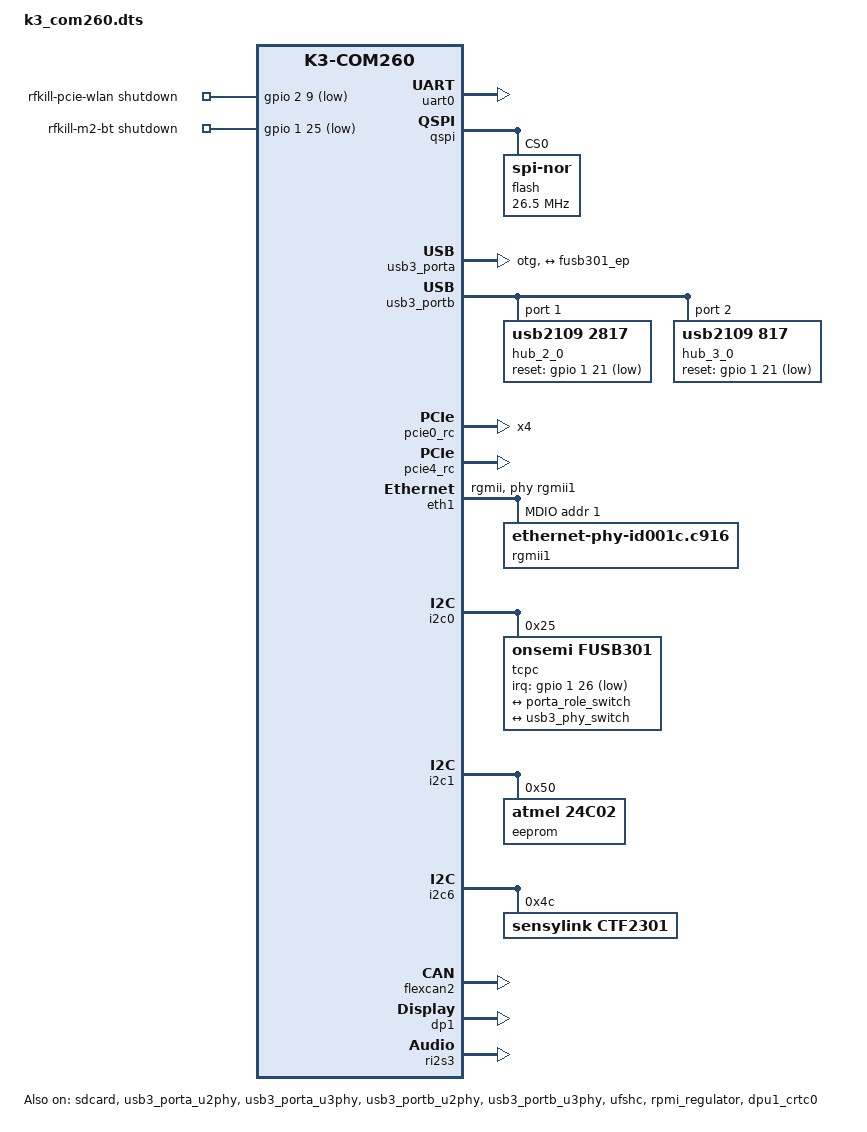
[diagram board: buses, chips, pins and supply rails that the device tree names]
// SPDX-License-Identifier: (GPL-2.0 OR MIT)
/* Copyright (c) 2025 Spacemit, Inc */

#include "k3.dtsi"
#include "k3-rdomain.dtsi"
#include "k3-pinctrl.dtsi"
#include "k3_opp_table.dtsi"
#include "k3-dp1.dtsi"

/ {
	compatible = "spacemit,k3-com260";
	cpus: cpus {
		#address-cells = <1>;
		#size-cells = <0>;
		timebase-frequency = <24000000>;
	};
/*
	p12v: p12v {
		compatible = "regulator-fixed";
		regulator-name = "p12v";
		regulator-always-on;
		regulator-boot-on;
		regulator-min-microvolt = <12000000>;
		regulator-max-microvolt = <12000000>;
		status = "disabled";
	};

	p5v: p5v {
		compatible = "regulator-fixed";
		regulator-name = "p5v";
		regulator-always-on;
		regulator-boot-on;
		regulator-min-microvolt = <5000000>;
		regulator-max-microvolt = <5000000>;
		vin-supply = <&p12v>;
		status = "disabled";
	};

	p1v8: p1v8 {
		compatible = "regulator-fixed";
		regulator-name = "p1v8";
		regulator-always-on;
		regulator-boot-on;
		regulator-min-microvolt = <1800000>;
		regulator-max-microvolt = <1800000>;
		vin-supply = <&p5v>;
		status = "disabled";
	};

	p3v3: p3v3 {
		compatible = "regulator-fixed";
		regulator-name = "p3v3";
		regulator-always-on;
		regulator-boot-on;
		regulator-min-microvolt = <3300000>;
		regulator-max-microvolt = <3300000>;
		vin-supply = <&p5v>;
		status = "disabled";
	};
*/
	chosen {
		bootargs = "earlycon=sbi console=ttyS0,115200 clk_ignore_unused nohlt loglevel=8 random.trust_bootloader=1";
		rng-seed = <0x25d69b2 0xff555073 0xd23238ea 0x57aa5455 0x792478ed 0xa744f28e 0x6ba4fc54 0xa2bf20fc>;
		stdout-path = "serial0:115200";
	};

	rfkill-pcie-wlan {
		compatible = "rfkill-gpio";
		label = "rfkill-pcie-wlan";
		pinctrl-names = "default";
		pinctrl-0 = <&m2_wdis1_cfg>;
		radio-type = "wlan";
		shutdown-gpios = <&gpio 2 9 GPIO_ACTIVE_LOW>;
	};

	rfkill-m2-bt {
		compatible = "rfkill-gpio";
		label = "rfkill-m2-bt";
		pinctrl-names = "default";
		pinctrl-0 = <&m2_wdis2_cfg>;
		radio-type = "bluetooth";
		shutdown-gpios = <&gpio 1 25 GPIO_ACTIVE_LOW>;
	};
};

&resmem {
	/* global autoconfigured region for contiguous allocations */
	cmamem: linux,cma {
		compatible = "shared-dma-pool";
		reusable;
		size = <0 0x20000000>;
		alloc-ranges = <1 0x40000000 0 0x20000000>;
		linux,cma-default;
	};
};

&pinctrl {
	can2-1-cfg {
		can2-0-pins {
			power-source = <3300>;
		};
	};

	gmac1-cfg {
		/delete-node/ gmac1-2-pins;
		/delete-node/ gmac1-4-pins;
		/delete-node/ gmac1-5-pins;

		gmac1-0-pins {
			power-source = <1800>;
		};

		gmac1-1-pins {
			power-source = <1800>;
		};

		gmac1-3-pins {
			power-source = <1800>;
		};

		gmac1-6-pins {
			pinmux = <K3_PADCONF(37, 0)>;

			bias-disable;
			drive-strength = <25>;
			power-source = <1800>;
		};
	};

	i2c0-0-cfg {
		i2c0-0-pins {
			power-source = <3300>;
		};
	};

	i2c1-1-cfg {
		i2c1-0-pins {
			power-source = <1800>;
		};
	};

	i2c6-1-cfg {
		i2c6-0-pins {
			power-source = <3300>;
		};
	};

	fusb301_cfg: fusb301-cfg {
		fusb301-0-pins {
			pinmux = <K3_PADCONF(58, 0)>;

			bias-pull-up;
			drive-strength = <25>;
			power-source = <1800>;
		};
	};

	dp1_3_cfg: dp1-3-cfg {
		dp1-0-pins {
			pinmux = <K3_PADCONF(72, 4)>;	/* dp1 hpd */

			bias-disable;			/* normal bias disable */
			drive-strength = <25>;		/* DS8 */
			power-source = <3300>;
		};
	};

	pcie0_1_cfg: pcie0-1-cfg {
		pcie0-0-pins {
			pinmux = <K3_PADCONF(79, 5)>,	/* pcie0 perst */
				<K3_PADCONF(81, 5)>;	/* pcie0 clkreq */

			bias-pull-up;			/* normal bias disable */
			drive-strength = <38>;		/* DS8 */
			power-source = <3300>;
		};
	};

	pcie4_0_cfg: pcie4-0-cfg {
		pcie4-0-pins {
			pinmux = <K3_PADCONF(76, 5)>,	/* pcie4 perst */
				<K3_PADCONF(80, 5)>,	/* pcie4 wake */
				<K3_PADCONF(78, 5)>;	/* pcie4 clkreq */

			bias-pull-up;			/* normal bias disable */
			drive-strength = <38>;		/* DS8 */
			power-source = <3300>;
		};
	};

	m2_wdis1_cfg: m2-wdis1-cfg {
		m2-wdis1-pins {
			pinmux = <K3_PADCONF(73, 0)>;

			bias-pull-up;
			drive-strength = <38>;
			power-source = <3300>;
		};
	};

	m2_wdis2_cfg: m2-wdis2-cfg {
		m2-wdis2-pins {
			pinmux = <K3_PADCONF(57, 0)>;

			bias-pull-up;
			drive-strength = <38>;
			power-source = <3300>;
		};
	};

	qspi-cfg {
		/delete-node/ qspi-1-pins;
		qspi-0-pins {
			power-source = <1800>;
		};
	};
};

&uart0 {
	pinctrl-names = "default";
	pinctrl-0 = <&uart0_0_cfg>;
	status = "okay";
};

&qspi {
	pinctrl-names = "default";
	pinctrl-0 = <&qspi_cfg>;
	spacemit,qspi-tx-dma = <0>;
	spacemit,qspi-rx-dma = <0>;
	status = "okay";

	flash@0 {
		compatible = "jedec,spi-nor";
		reg = <0>;
		spi-max-frequency = <26500000>;
		m25p,fast-read;
		broken-flash-reset;
		status = "okay";
	};
};

&sdcard {
	pinctrl-names = "default";
	pinctrl-0 = <&mmc1_cfg>;
	bus-width = <4>;
	wp-inverted;
	cd-gpios = <&gpio 0 4 GPIO_ACTIVE_HIGH>;
	vmmc-supply = <&p3v3>;
	vqmmc-supply = <&aldo1>;
	no-mmc;
	no-sdio;
	clock-frequency = <204800000>;
	spacemit,tx_delaycode = <0x1f>;
	status = "okay";
};

&usb2_host_u2phy {
	status = "disabled";
};

&usb2_host {
	status = "disabled";
};

&usb3_porta_u2phy {
	status = "okay";
};

&usb3_porta_u3phy {
	orientation-switch;
	status = "okay";

	port {
		usb3_phy_switch: endpoint {
			remote-endpoint = <&fusb301_sw_ep>;
		};
	};
};

&usb3_porta {
	dr_mode = "otg";
	usb-role-switch;
	role-switch-default-mode = "peripheral";
	monitor-vbus;
	status = "okay";

	ports {
		#address-cells = <1>;
		#size-cells = <0>;
		port@0 {
			reg = <0x0>;
			porta_role_switch: endpoint {
				remote-endpoint = <&fusb301_ep>;
			};
		};
	};
};

&usb3_portb_u2phy {
	status = "okay";
};

&usb3_portb_u3phy {
	status = "okay";
};

&usb3_portb {
	status = "okay";
	#address-cells = <1>;
	#size-cells = <0>;

	/* VL817 USB2.0 hub (4 ports) */
	hub_2_0: hub@1 {
		compatible = "usb2109,2817";
		reg = <1>;
		peer-hub = <&hub_3_0>;
		/* GPIO53(MIPI_CSI3_PWDN) for HUB 3V3 RST */
		reset-gpio = <&gpio 1 21 GPIO_ACTIVE_LOW>;
	};

	/* VL817 USB3.0 hub (4 ports) */
	hub_3_0: hub@2 {
		compatible = "usb2109,817";
		reg = <2>;
		peer-hub = <&hub_2_0>;
		/* GPIO53(MIPI_CSI3_PWDN) for HUB 3V3 RST */
		reset-gpio = <&gpio 1 21 GPIO_ACTIVE_LOW>;
	};
};

&ufshc {
	status = "okay";
};

&pcie0_rc {
	pinctrl-names = "default";
	pinctrl-0 = <&pcie0_1_cfg>;

	max-link-speed = <1>;
	num-lanes = <4>;
	status = "okay";
};

&pcie4_rc {
	pinctrl-names = "default";
	pinctrl-0 = <&pcie4_0_cfg>;

	max-link-speed = <1>;
	status = "okay";
};

&eth1 {
	pinctrl-names = "default";
	pinctrl-0 = <&gmac1_cfg>;

	max-speed = <1000>;
	tx-fifo-depth = <8192>;
	rx-fifo-depth = <8192>;
	snps,tso;
	snps,force_sf_dma_mode;
	phy-mode = "rgmii";
	phy-handle = <&rgmii1>;
	snps,reset-gpios = <&gpio 1 5 GPIO_ACTIVE_LOW>;
	snps,reset-delays-us = <2 10000 10000>;

	spacemit,wake-irq-enable;

	spacemit,clk-tuning-enable;
	spacemit,clk-tuning-by-delayline;
	spacemit,tx-phase = <47>;
	spacemit,rx-phase = <53>;

	status = "okay";

	mdio {
		#address-cells = <1>;
		#size-cells = <0>;
		compatible = "snps,dwmac-mdio";

		rgmii1: phy@1 {
			compatible = "ethernet-phy-id001c.c916";
			reg = <0x1>;
			device_type = "ethernet-phy";
		};
	};
};

&rpmi_regulator {
	status = "okay";
	pinctrl-names = "default";
	pinctrl-0 = <&i2c8_cfg_rcpu>;

	pvin: pvin {
		regulator-min-microvolt = <5000000>;
		regulator-max-microvolt = <5000000>;
		regulator-always-on;
		regulator-boot-on;
	};

	edcdc2: edcdc2 {
		regulator-min-microvolt = <800000>;
		regulator-max-microvolt = <800000>;
		regulator-always-on;
		regulator-boot-on;
	};

	edcdc1: edcdc1 {
		regulator-min-microvolt = <534000>;
		regulator-max-microvolt = <1000000>;
		regulator-always-on;
		regulator-boot-on;
	};

	p3v3: p3v3 {
		regulator-min-microvolt = <3300000>;
		regulator-max-microvolt = <3300000>;
		regulator-always-on;
		regulator-boot-on;
	};

	p1v8: p1v8 {
		regulator-min-microvolt = <1800000>;
		regulator-max-microvolt = <1800000>;
		regulator-always-on;
		regulator-boot-on;
	};

	dcdc1: dcdc1 {
		regulator-min-microvolt = <1050000>;
		regulator-max-microvolt = <1050000>;
		regulator-always-on;
		regulator-boot-on;
	};

	dcdc3: dcdc3 {
		regulator-min-microvolt = <800000>;
		regulator-max-microvolt = <800000>;
		regulator-always-on;
		regulator-boot-on;
	};

	dcdc4: dcdc4 {
		regulator-min-microvolt = <2100000>;
		regulator-max-microvolt = <2100000>;
		regulator-always-on;
		regulator-boot-on;
	};

	dcdc5: dcdc5 {
		regulator-min-microvolt = <1800000>;
		regulator-max-microvolt = <1800000>;
		regulator-always-on;
		regulator-boot-on;
	};

	dcdc6: dcdc6 {
		regulator-min-microvolt = <500000>;
		regulator-max-microvolt = <600000>;
		regulator-always-on;
		regulator-boot-on;
	};

	aldo1: aldo1 {
		regulator-min-microvolt = <1800000>;
		regulator-max-microvolt = <3300000>;
		regulator-always-on;
		regulator-boot-on;
	};

	aldo2: aldo2 {
		regulator-min-microvolt = <1800000>;
		regulator-max-microvolt = <1800000>;
		regulator-always-on;
		regulator-boot-on;
	};

	aldo3: aldo3 {
		regulator-min-microvolt = <500000>;
		regulator-max-microvolt = <3400000>;
	};

	aldo4: aldo4 {
		regulator-min-microvolt = <3300000>;
		regulator-max-microvolt = <3300000>;
		regulator-always-on;
		regulator-boot-on;
	};

	dldo1: dldo1 {
		regulator-min-microvolt = <1200000>;
		regulator-max-microvolt = <1200000>;
		regulator-always-on;
		regulator-boot-on;
	};

	dldo2: dldo2 {
		regulator-min-microvolt = <900000>;
		regulator-max-microvolt = <900000>;
		regulator-always-on;
		regulator-boot-on;
	};

	dldo3: dldo3 {
		regulator-min-microvolt = <800000>;
		regulator-max-microvolt = <800000>;
		regulator-always-on;
		regulator-boot-on;
	};

	dldo4: dldo4 {
		regulator-min-microvolt = <1800000>;
		regulator-max-microvolt = <1800000>;
		regulator-always-on;
		regulator-boot-on;
	};

	dldo5: dldo5 {
		regulator-min-microvolt = <1800000>;
		regulator-max-microvolt = <1800000>;
		regulator-always-on;
		regulator-boot-on;
	};

	dldo6: dldo6 {
		regulator-min-microvolt = <1800000>;
		regulator-max-microvolt = <1800000>;
		regulator-always-on;
		regulator-boot-on;
	};

	dldo7: dldo7 {
		regulator-min-microvolt = <1800000>;
		regulator-max-microvolt = <1800000>;
		regulator-always-on;
		regulator-boot-on;
	};

	pwr_x100: pwr_x100 {
		regulator-min-microvolt = <3300000>;
		regulator-max-microvolt = <3300000>;
		regulator-always-on;
		regulator-boot-on;
	};

	pwr_a100: pwr_a100 {
		regulator-min-microvolt = <3300000>;
		regulator-max-microvolt = <3300000>;
		regulator-always-on;
		regulator-boot-on;
	};

	pwr_ext: pwr_ext {
		regulator-min-microvolt = <3300000>;
		regulator-max-microvolt = <3300000>;
		regulator-always-on;
		regulator-boot-on;
	};
};

&thermal_zones {
	thermal_0 {
		polling-delay = <1000>;
		polling-delay-passive = <250>;
		thermal-sensors = <&thermal 0>;

		trips {
			thermal0_trip0: thermal0-trip0 {
				temperature = <40000>;
				hysteresis = <5000>;
				type = "passive";
			};
		};
	};

	thermal_1 {
		polling-delay = <1000>;
		polling-delay-passive = <250>;
		thermal-sensors = <&thermal 1>;

		trips {
			thermal1_trip0: thermal1-trip0 {
				temperature = <40000>;
				hysteresis = <5000>;
				type = "passive";
			};
		};
	};

	thermal_2 {
		polling-delay = <1000>;
		polling-delay-passive = <250>;
		thermal-sensors = <&thermal 2>;

		trips {
			thermal2_trip0: thermal2-trip0 {
				temperature = <40000>;
				hysteresis = <5000>;
				type = "passive";
			};
		};
	};

	thermal_3 {
		polling-delay = <1000>;
		polling-delay-passive = <250>;
		thermal-sensors = <&thermal 3>;

		trips {
			thermal3_trip0: thermal3-trip0 {
				temperature = <40000>;
				hysteresis = <5000>;
				type = "passive";
			};
		};
	};

	thermal_4 {
		/* top sensor */
		polling-delay = <1000>;
		polling-delay-passive = <250>;
		thermal-sensors = <&thermal 4>;

		trips {
			thermal4_top_trip0: thermal4-trip0 {
				temperature = <35000>;
				hysteresis = <5000>;
				type = "active";
			};

			thermal4_top_trip1: thermal4-trip1 {
				temperature = <40000>;
				hysteresis = <5000>;
				type = "passive";
			};

			thermal4_top_trip2: thermal4-trip2 {
				temperature = <50000>;
				hysteresis = <5000>;
				type = "passive";
			};

			thermal4_top_trip3: thermal4-trip3 {
				temperature = <60000>;
				hysteresis = <5000>;
				type = "passive";
			};

			thermal4_top_trip4: thermal4-trip04 {
				temperature = <70000>;
				hysteresis = <5000>;
				type = "passive";
			};
		};

		cooling-maps {
			map0 {
				trip = <&thermal4_top_trip0>;
				cooling-device = <&ctf2301 0 50>;
			};

			map1 {
				trip = <&thermal4_top_trip1>;
				cooling-device = <&ctf2301 64 75>;
			};

			map2 {
				trip = <&thermal4_top_trip2>;
				cooling-device = <&ctf2301 102 128>;
			};

			map3 {
				trip = <&thermal4_top_trip3>;
				cooling-device = <&ctf2301 179 204>;
			};

			map4 {
				trip = <&thermal4_top_trip4>;
				cooling-device = <&ctf2301 255 255>;
			};
		};
	};

	thermal_5 {
		polling-delay = <1000>;
		polling-delay-passive = <250>;
		thermal-sensors = <&thermal 5>;

		trips {
			thermal5_trip0: thermal5-trip0 {
				temperature = <40000>;
				hysteresis = <5000>;
				type = "passive";
			};
		};
	};

	thermal_6 {
		polling-delay = <1000>;
		polling-delay-passive = <250>;
		thermal-sensors = <&thermal 6>;

		trips {
			thermal6_trip0: thermal6-trip0 {
				temperature = <40000>;
				hysteresis = <5000>;
				type = "passive";
			};
		};
	};

	thermal_7 {
		polling-delay = <1000>;
		polling-delay-passive = <250>;
		thermal-sensors = <&thermal 7>;

		trips {
			thermal7_trip0: thermal7-trip0 {
				temperature = <40000>;
				hysteresis = <5000>;
				type = "passive";
			};
		};
	};
};

&i2c0 {
	pinctrl-names = "default";
	pinctrl-0 = <&i2c0_0_cfg>;
	status = "okay";

	tcpc@25 {
		compatible = "onsemi,fusb301";
		reg = <0x25>;
		pinctrl-names = "default";
		pinctrl-0 = <&fusb301_cfg>;
		irq-gpios = <&gpio 1 26 GPIO_ACTIVE_LOW>;
		wakeup-source;
		status = "okay";

		typec_0: connector@0 {
			compatible = "usb-c-connector";
			label = "USB-C";
			data-role = "dual";
			power-role = "dual";
			try-power-role = "sink";
			typec-power-opmode = "default";
			pd-disable;

			ports {
				#address-cells = <0x1>;
				#size-cells = <0x0>;

				port@0 {
					reg = <0x0>;
					fusb301_ep: endpoint {
						remote-endpoint = <&porta_role_switch>;
					};
				};

				port@1 {
					reg = <0x1>;
					fusb301_sw_ep: endpoint {
						remote-endpoint = <&usb3_phy_switch>;
					};
				};
			};
		};
	};
};

&i2c1 {
	pinctrl-names = "default";
	pinctrl-0 = <&i2c1_1_cfg>;
	status = "okay";

	eeprom@50 {
		compatible = "atmel,24c02";
		reg = <0x50>;
		read-only;
		status = "okay";

		nvmem-layout {
			compatible = "onie,tlv-layout";

			product_name: product-name {
			};
		};
	};
};

&i2c6 {
	pinctrl-names = "default";
	pinctrl-0 = <&i2c6_1_cfg>;
	status = "okay";

	ctf2301: ctf2301@4c {
		compatible = "sensylink,ctf2301";
		reg = <0x4c>;
		#cooling-cells = <2>;
	};
};

&flexcan2 {
	clock-frequency = <80000000>;
	pinctrl-names = "default";
	pinctrl-0 = <&can2_1_cfg>;
	status = "okay";
};

/*
&i2c8 {
	pinctrl-names = "default";
	pinctrl-0 = <&i2c8_cfg>;
	status = "disabled";

	p1@41 {
		compatible = "spacemit,p1";
		reg = <0x41>;
		status = "disabled";

		vcc-supply = <&p5v>;

		regulators {
			compatible = "spacemit-p1-regulator";

			buck1: buck1 {
				regulator-min-microvolt = <1050000>;
				regulator-max-microvolt = <1050000>;
				regulator-ramp-delay = <5000>;
				regulator-always-on;
				regulator-boot-on;
			};

			buck2: buck2 {
				regulator-min-microvolt = <1050000>;
				regulator-max-microvolt = <1050000>;
				regulator-ramp-delay = <5000>;
				regulator-always-on;
				regulator-boot-on;
			};

			buck3: buck3 {
				regulator-min-microvolt = <800000>;
				regulator-max-microvolt = <800000>;
				regulator-ramp-delay = <5000>;
				regulator-always-on;
				regulator-boot-on;
			};

			buck4: buck4 {
				regulator-min-microvolt = <2100000>;
				regulator-max-microvolt = <2100000>;
				regulator-ramp-delay = <5000>;
				regulator-always-on;
				regulator-boot-on;
			};

			buck5: buck5 {
				regulator-min-microvolt = <1800000>;
				regulator-max-microvolt = <1800000>;
				regulator-ramp-delay = <5000>;
				regulator-always-on;
				regulator-boot-on;
			};

			buck6: buck6 {
				regulator-min-microvolt = <500000>;
				regulator-max-microvolt = <500000>;
				regulator-ramp-delay = <5000>;
				regulator-always-on;
				regulator-boot-on;
			};

			aldo1: aldo1 {
				regulator-min-microvolt = <1800000>;
				regulator-max-microvolt = <3300000>;
				regulator-always-on;
				regulator-boot-on;
			};

			aldo2: aldo2 {
				regulator-min-microvolt = <1800000>;
				regulator-max-microvolt = <1800000>;
				regulator-always-on;
				regulator-boot-on;
			};

			aldo3: aldo3 {
				regulator-min-microvolt = <500000>;
				regulator-max-microvolt = <3400000>;
			};

			aldo4: aldo4 {
				regulator-min-microvolt = <3300000>;
				regulator-max-microvolt = <3300000>;
				regulator-always-on;
				regulator-boot-on;
			};

			dldo1: dldo1 {
				regulator-min-microvolt = <1200000>;
				regulator-max-microvolt = <1200000>;
				regulator-always-on;
				regulator-boot-on;
			};

			dldo2: dldo2 {
				regulator-min-microvolt = <900000>;
				regulator-max-microvolt = <900000>;
				regulator-always-on;
				regulator-boot-on;
			};

			dldo3: dldo3 {
				regulator-min-microvolt = <800000>;
				regulator-max-microvolt = <800000>;
				regulator-always-on;
				regulator-boot-on;
			};

			dldo4: dldo4 {
				regulator-min-microvolt = <1800000>;
				regulator-max-microvolt = <1800000>;
				regulator-boot-on;
			};

			dldo5: dldo5 {
				regulator-min-microvolt = <1800000>;
				regulator-max-microvolt = <1800000>;
				regulator-always-on;
				regulator-boot-on;
			};

			dldo6: dldo6 {
				regulator-min-microvolt = <1800000>;
				regulator-max-microvolt = <1800000>;
				regulator-always-on;
				regulator-boot-on;
			};

			dldo7: dldo7 {
				regulator-min-microvolt = <1800000>;
				regulator-max-microvolt = <1800000>;
				regulator-always-on;
				regulator-boot-on;
			};
		};
	};

	mpq8655: mpq8655@30 {
		compatible = "spacemit,mpq8655";
		reg = <0x30>;

		vcc-supply = <&p5v>;

		regulators {
			compatible = "spacemit,regulator,mpq8655";

			edcdc1: edcdc1 {
				regulator-min-microvolt = <600000>;
				regulator-max-microvolt = <1000000>;
				regulator-ramp-delay = <10>;
				regulator-always-on;
				regulator-boot-on;
			};
		};
	};
};
*/

&dpu1_crtc0 {
	memory-region = <&dpu_resv1>;
	status = "okay";
};

&dp1 {
	pinctrl-names = "default";
	pinctrl-0 = <&dp1_3_cfg>;
	status = "okay";
};

&adma3 {
	status = "okay";
};

&ri2s3 {
	status = "okay";
};

&sound_card_dp1 {
	status = "okay";
	playback-only;
	simple-audio-card,mclk-fs = <512>;
	simple-audio-card,dai-link@0 {
		format = "left_j";
		frame-master = <&dp1_link_cpu>;
		bitclock-master = <&dp1_link_cpu>;
		dp1_link_codec: codec {
			sound-dai = <&dp1>;
		};
	};
};
